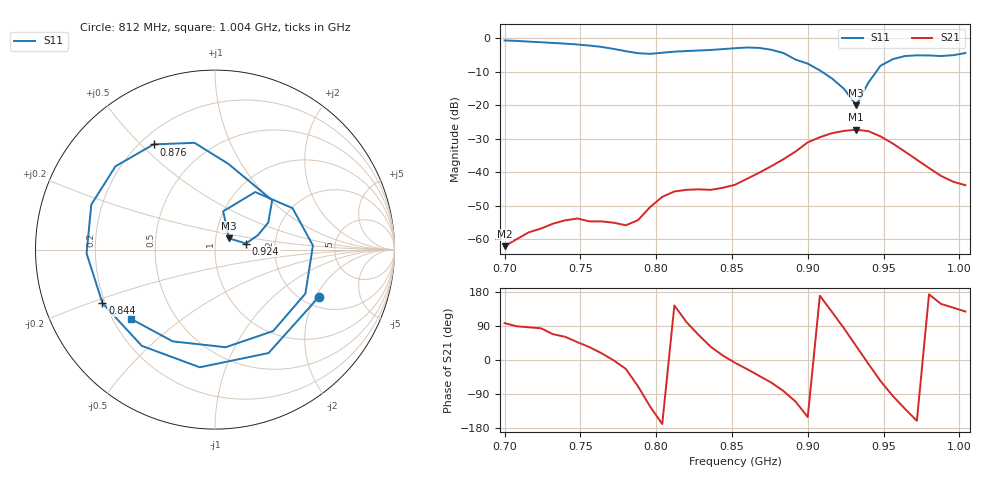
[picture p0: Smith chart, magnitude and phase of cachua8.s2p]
# Hz S RI R 50
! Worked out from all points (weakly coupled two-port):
!   39 points, 700 MHz to 1.004 GHz, reference 50 ohm
!   highest |S21| = -27.28 dB at 932 MHz (marker M1); lowest = -62.1 dB at 700 MHz (marker M2)
!   lowest |S11| = -20.0 dB at 932 MHz (marker M3), VSWR 1.22, Z = 57.9 + j7.38 ohm
!   |S11| at or under -10 dB: 909.5 MHz to 945.1 MHz (35.59 MHz wide, 3.84 % of centre)
!   S12 and S22 are empty: the file has one direction only
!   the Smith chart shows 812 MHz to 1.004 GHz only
!   S11 on the Smith chart (normalised r, x): 812 MHz: 2.41, -2.13; 844 MHz: 0.19, -0.22; 876 MHz: 0.25, +0.55; 924 MHz: 1.41, +0.10; 1.004 GHz: 0.27, -0.34
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7e8  0.7554 0.5505  -9.95e-05 0.000777  0 0  0 0
7.24e8  0.8438 -0.2426  0.000159 0.00143  0 0  0 0
7.4e8  0.4571 -0.7021  0.000919 0.00167  0 0  0 0
7.56e8  -0.1905 -0.7604  0.00153 0.00103  0 0  0 0
7.72e8  -0.6682 -0.2038  0.00176 -3.39e-05  0 0  0 0
7.8e8  -0.607 0.2194  0.00148 -0.000643  0 0  0 0
7.88e8  -0.2673 0.54  0.000679 -0.0018  0 0  0 0
7.96e8  0.2272 0.5436  -0.00164 -0.00253  0 0  0 0
8.04e8  0.5777 0.203  -0.0042 -0.000816  0 0  0 0
8.12e8  0.5785 -0.2638  -0.00416 0.00304  0 0  0 0
8.28e8  -0.0851 -0.6557  0.00225 0.00507  0 0  0 0
8.44e8  -0.6269 -0.2985  0.00573 0.00118  0 0  0 0
8.52e8  -0.7154 -0.0214  0.00644 -0.000832  0 0  0 0
8.76e8  -0.3426 0.586  0.00621 -0.0106  0 0  0 0
9e8  0.3185 0.2752  -0.0244 -0.0138  0 0  0 0
9.08e8  0.2969 0.151  -0.0328 0.00602  0 0  0 0
9.24e8  0.1723 0.0339  0.00508 0.0413  0 0  0 0
9.32e8  0.0779 0.063  0.0348 0.0257  0 0  0 0
9.4e8  0.0456 0.2135  0.0405 -0.0072  0 0  0 0
9.56e8  0.4322 0.2308  -0.00209 -0.0269  0 0  0 0
9.8e8  0.324 -0.4539  -0.0115 0.00136  0 0  0 0
1.004e9  -0.4667 -0.3867  -0.00393 0.00505  0 0  0 0
